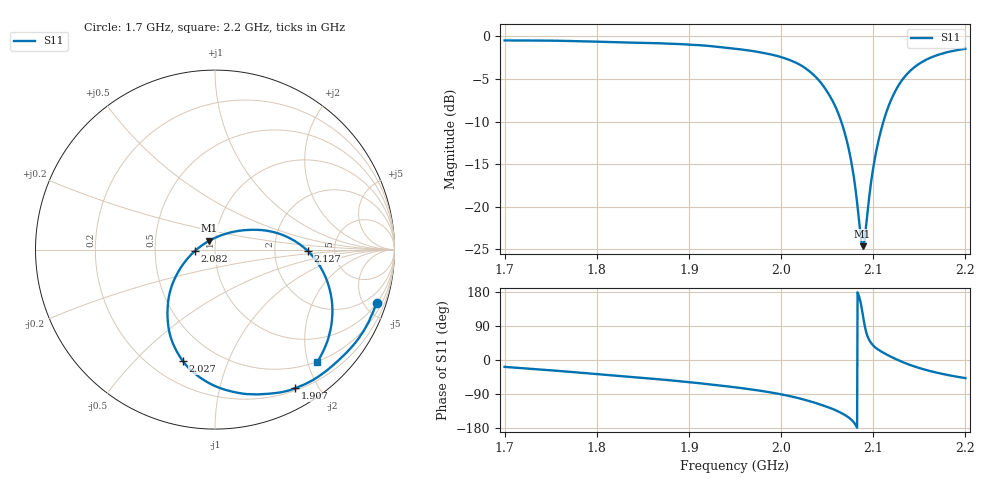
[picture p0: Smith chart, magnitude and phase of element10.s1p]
# Hz S RI R 50
! CMT, CMT808U, 21440046, 21.4.3/4
! Date: 12/1/2025 1:45:14 PM
! Data: Format (Calibration Info)
! Freq	S11:Re/Im(F2)
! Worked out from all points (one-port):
!   1001 points, 1.7 GHz to 2.2 GHz, reference 50 ohm
!   lowest |S11| = -24.6 dB at 2.088 GHz (marker M1), VSWR 1.12, Z = 46.8 + j4.66 ohm
!   |S11| at or under -10 dB: 2.065 GHz to 2.111 GHz (45.73 MHz wide, 2.19 % of centre)
!   S11 on the Smith chart (normalised r, x): 1.7 GHz: 1.05, -6.09; 1.907 GHz: 0.23, -1.71; 2.027 GHz: 0.33, -0.70; 2.082 GHz: 0.80, -0.01; 2.127 GHz: 3.14, -0.06; 2.2 GHz: 0.49, -2.16
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1.7e9  0.9007 -0.2949
1.7625e9  0.8201 -0.4662
1.825e9  0.6866 -0.6184
1.8875e9  0.5131 -0.7442
1.9065e9  0.446 -0.7721
1.95e9  0.2619 -0.8058
1.987e9  0.0714 -0.7852
2.0125e9  -0.0864 -0.7105
2.027e9  -0.1779 -0.6226
2.043e9  -0.2509 -0.4742
2.057e9  -0.263 -0.3106
2.067e9  -0.2335 -0.1823
2.075e9  -0.1797 -0.0843
2.0785e9  -0.1482 -0.0444
2.082e9  -0.1115 -0.00728
2.086e9  -0.0636 0.0297
2.0885e9  -0.0312 0.0496
2.091e9  0.00288 0.0668
2.0985e9  0.111 0.1008
2.102e9  0.1628 0.1081
2.106e9  0.2223 0.1105
2.116e9  0.3724 0.0831
2.1275e9  0.5167 -0.0075
2.1375e9  0.5974 -0.1148
2.149e9  0.6433 -0.2398
2.1615e9  0.6539 -0.3631
2.1815e9  0.6225 -0.5206
2.2e9  0.5688 -0.6278
